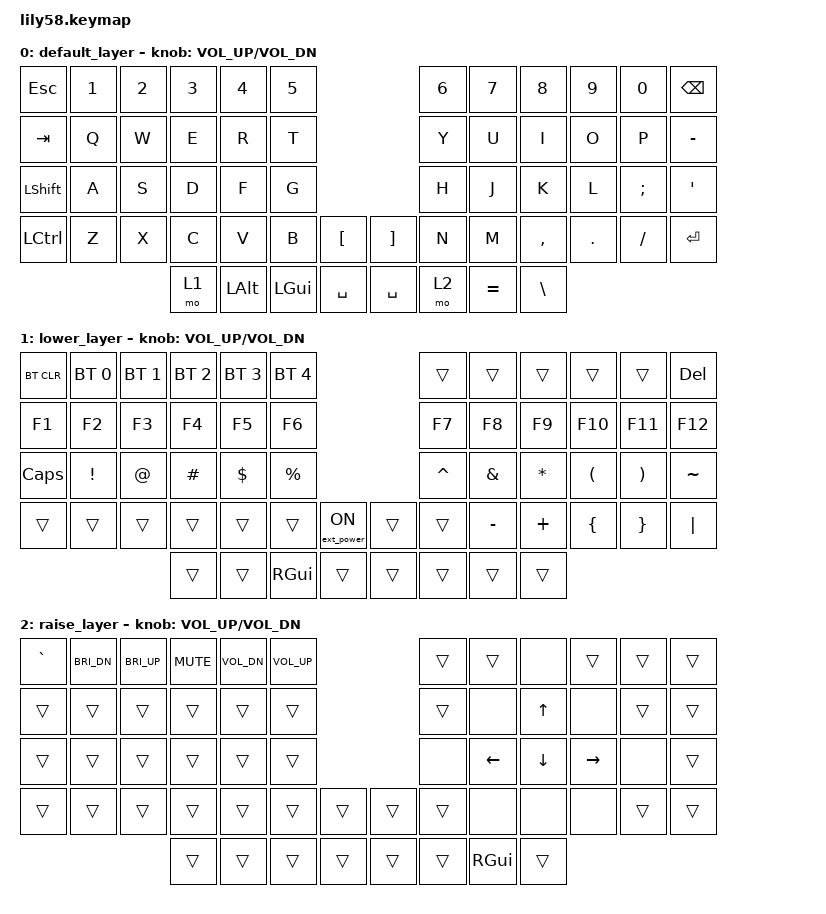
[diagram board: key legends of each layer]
/*
 * Copyright (c) 2020 The ZMK Contributors
 *
 * SPDX-License-Identifier: MIT
 */

#include <behaviors.dtsi>
#include <dt-bindings/zmk/keys.h>
#include <dt-bindings/zmk/bt.h>
#include <dt-bindings/zmk/ext_power.h>

/ {
    keymap {
        compatible = "zmk,keymap";

        default_layer {
// ------------------------------------------------------------------------------------------------------------
// |  ESC  |  1  |  2  |  3   |  4   |  5   |                   |  6   |  7    |  8    |  9   |   0   |  BSPC |
// |  TAB  |  Q  |  W  |  E   |  R   |  T   |                   |  Y   |  U    |  I    |  O   |   P   |   -   |
// | SHIFT |  A  |  S  |  D   |  F   |  G   |                   |  H   |  J    |  K    |  L   |   ;   |   '   |
// |  CTRL |  Z  |  X  |  C   |  V   |  B   |   "["  |  |  "]"  |  N   |  M    |  ,    |  .   |   /   | ENTER |
//                     | LOWER| ALT  | GUI  |  SPACE |  | SPACE | RAISE|  =    |  \    |
            bindings = <
&kp ESC   &kp N1 &kp N2 &kp N3 &kp N4   &kp N5                         &kp N6 &kp N7    &kp N8    &kp N9  &kp N0   &kp BSPC
&kp TAB   &kp Q  &kp W  &kp E  &kp R    &kp T                          &kp Y  &kp U     &kp I     &kp O   &kp P    &kp MINUS
&kp LSHFT &kp A  &kp S  &kp D  &kp F    &kp G                          &kp H  &kp J     &kp K     &kp L   &kp SEMI &kp SQT
&kp LCTRL &kp Z  &kp X  &kp C  &kp V    &kp B    &kp LBKT    &kp RBKT  &kp N  &kp M     &kp COMMA &kp DOT &kp FSLH &kp RET
                        &mo 1  &kp LALT &kp LGUI &kp SPACE   &kp SPACE &mo 2  &kp EQUAL &kp BSLH
            >;

            sensor-bindings = <&inc_dec_kp C_VOL_UP C_VOL_DN>;
        };

        lower_layer {
// ------------------------------------------------------------------------------------------------------------
// | BTCLR | BT1 | BT2 |  BT3 |  BT4 |  BT5 |                   |      |       |       |      |       |  DEL  |
// |  F1   |  F2 |  F3 |  F4  |  F5  |  F6  |                   |  F7  |  F8   |  F9   |  F10 |  F11  |  F12  |
// | CAPS  |  !  |  @  |  #   |  $   |  %   |                   |  ^   |  &    |  *    |  (   |   )   |   ~   |
// |       |     |     |      |      |      |  EP_ON |  |       |      |  _    |  +    |  {   |   }   |  "|"  |
//                     |      |      | RGUI |        |  |       |      |       |       |
            bindings = <
&bt BT_CLR &bt BT_SEL 0 &bt BT_SEL 1 &bt BT_SEL 2 &bt BT_SEL 3 &bt BT_SEL 4                           &trans    &trans    &trans    &trans    &trans    &kp DEL
&kp F1     &kp F2       &kp F3       &kp F4       &kp F5       &kp F6                                 &kp F7    &kp F8    &kp F9    &kp F10   &kp F11   &kp F12
&kp CAPS   &kp EXCL     &kp AT       &kp HASH     &kp DOLLAR   &kp PRCNT                              &kp CARET &kp AMPS  &kp ASTRK &kp LPAR  &kp RPAR  &kp TILDE
&trans     &trans       &trans       &trans       &trans       &trans    &ext_power EP_ON   &trans    &trans    &kp MINUS &kp PLUS  &kp LBRC  &kp RBRC  &kp PIPE
                                     &trans       &trans       &kp RGUI  &trans             &trans    &trans    &trans    &trans
            >;

            sensor-bindings = <&inc_dec_kp C_VOL_UP C_VOL_DN>;
        };

        raise_layer {
// ------------------------------------------------------------------------------------------------------------
// |   `   |BRI_D|BRI_U| MUTE |VOL_DN|VOL_UP|                   |      |       |       |      |       |       |
// |       |     |     |      |      |      |                   |      |       |   ^   |      |       |       |
// |       |     |     |      |      |      |                   |      |   <-  |   v   |  ->  |       |       |
// |       |     |     |      |      |      |        |  |       |      |       |       |      |       |       |
//                     |      |      |      |        |  |       |      | RGUI  |       |
            bindings = <
&kp GRAVE &kp C_BRI_DN &kp C_BRI_UP &kp C_MUTE &kp C_VOL_DN &kp C_VOL_UP                 &trans  &trans    &none     &trans    &trans    &trans
&trans    &trans       &trans       &trans     &trans       &trans                       &trans  &none     &kp UP    &none     &trans    &trans
&trans    &trans       &trans       &trans     &trans       &trans                       &none   &kp LEFT  &kp DOWN  &kp RIGHT &none     &trans
&trans    &trans       &trans       &trans     &trans       &trans   &trans    &trans    &trans  &none     &none     &none     &trans    &trans
                                    &trans     &trans       &trans   &trans    &trans    &trans  &kp RGUI    &trans
            >;

            sensor-bindings = <&inc_dec_kp C_VOL_UP C_VOL_DN>;
        };
    };
};
